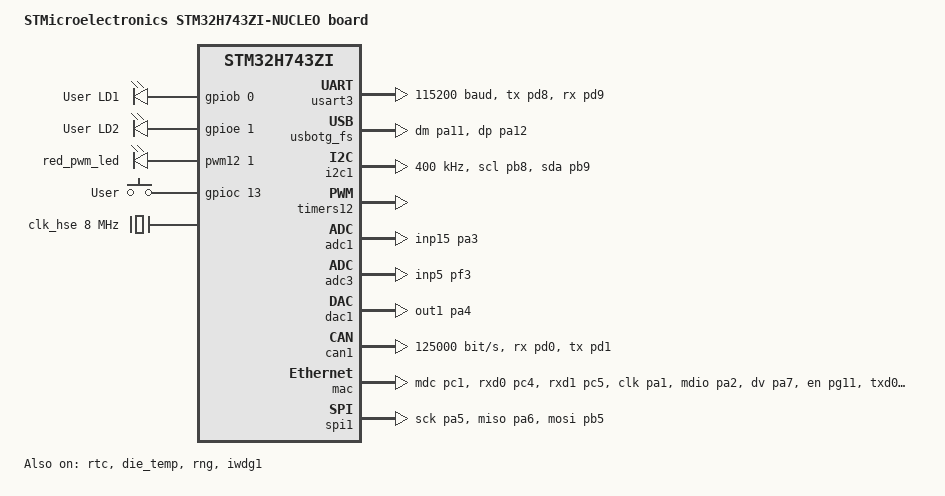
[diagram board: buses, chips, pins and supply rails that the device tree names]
/*
 * Copyright (c) 2020 Teslabs Engineering S.L.
 *
 * SPDX-License-Identifier: Apache-2.0
 */

/dts-v1/;
#include <st/h7/stm32h743Xi.dtsi>
#include <st/h7/stm32h743zitx-pinctrl.dtsi>
#include "arduino_r3_connector.dtsi"

/ {
	model = "STMicroelectronics STM32H743ZI-NUCLEO board";
	compatible = "st,stm32h743zi-nucleo";

	chosen {
		zephyr,console = &usart3;
		zephyr,shell-uart = &usart3;
		zephyr,sram = &sram0;
		zephyr,flash = &flash0;
		zephyr,dtcm = &dtcm;
		zephyr,code-partition = &slot0_partition;
		zephyr,canbus = &can1;
	};

	leds {
		compatible = "gpio-leds";
		green_led: led_0 {
			gpios = <&gpiob 0 GPIO_ACTIVE_HIGH>;
			label = "User LD1";
		};
		yellow_led: led_1 {
			gpios = <&gpioe 1 GPIO_ACTIVE_HIGH>;
			label = "User LD2";
		};
	};

	pwmleds {
		compatible = "pwm-leds";

		red_pwm_led: red_pwm_led {
			pwms = <&pwm12 1 PWM_MSEC(20) PWM_POLARITY_NORMAL>;
		};
	};

	gpio_keys {
		compatible = "gpio-keys";
		user_button: button_0 {
			label = "User";
			gpios = <&gpioc 13 GPIO_ACTIVE_HIGH>;
		};
	};

	aliases {
		led0 = &green_led;
		led1 = &yellow_led;
		pwm-led0 = &red_pwm_led;
		sw0 = &user_button;
		watchdog0 = &iwdg;
	};
};

&clk_hse {
	hse-bypass;
	clock-frequency = <DT_FREQ_M(8)>; /* STLink 8MHz clock */
	status = "okay";
};

&pll {
	div-m = <1>;
	mul-n = <24>;
	div-p = <2>;
	div-q = <4>;
	div-r = <2>;
	clocks = <&clk_hse>;
	status = "okay";
};

&rcc {
	clocks = <&pll>;
	clock-frequency = <DT_FREQ_M(96)>;
	d1cpre = <1>;
	hpre = <1>;
	d1ppre = <1>;
	d2ppre1 = <1>;
	d2ppre2 = <1>;
	d3ppre = <1>;
};

&usart3 {
	pinctrl-0 = <&usart3_tx_pd8 &usart3_rx_pd9>;
	pinctrl-names = "default";
	current-speed = <115200>;
	status = "okay";
};

zephyr_udc0: &usbotg_fs {
	pinctrl-0 = <&usb_otg_fs_dm_pa11 &usb_otg_fs_dp_pa12>;
	pinctrl-names = "default";
	status = "okay";
};

&rtc {
	status = "okay";
};

&i2c1 {
	pinctrl-0 = <&i2c1_scl_pb8 &i2c1_sda_pb9>;
	pinctrl-names = "default";
	status = "okay";
	clock-frequency = <I2C_BITRATE_FAST>;
};

&timers12 {
	st,prescaler = <10000>;
	status = "okay";

	pwm12: pwm {
		status = "okay";
		pinctrl-0 = <&tim12_ch1_pb14>;
		pinctrl-names = "default";
	};
};

&adc1 {
	pinctrl-0 = <&adc1_inp15_pa3>;
	pinctrl-names = "default";
	status = "okay";
};

&die_temp {
	status = "okay";
};

&adc3 {
	pinctrl-0 = <&adc3_inp5_pf3>;
	pinctrl-names = "default";
	status = "okay";
};

&dac1 {
	status = "okay";
	pinctrl-0 = <&dac1_out1_pa4>;
	pinctrl-names = "default";
};

&rng {
	status = "okay";
};

&can1 {
	pinctrl-0 = <&fdcan1_rx_pd0 &fdcan1_tx_pd1>;
	pinctrl-names = "default";
	bus-speed = <125000>;
	bus-speed-data = <1000000>;
	status = "okay";
};

/*
 * WARNING:
 * Possible pin conflicts:
 *          The pins PA2 and PB13 may conflict on selection of ETH_STM32_HAL,
 *          since they are used in ST Zio or ST morpho connectors.
 *          To avoid conflicting states the jumpers JP6 and JP7
 *          must be in ON state.
 */
&mac {
	status = "okay";
	pinctrl-0 = <&eth_mdc_pc1
		     &eth_rxd0_pc4
		     &eth_rxd1_pc5
		     &eth_ref_clk_pa1
		     &eth_mdio_pa2
		     &eth_crs_dv_pa7
		     &eth_tx_en_pg11
		     &eth_txd0_pg13
		     &eth_txd1_pb13>;
	pinctrl-names = "default";
};

&spi1 {
	status = "okay";
	pinctrl-0 = <&spi1_sck_pa5 &spi1_miso_pa6 &spi1_mosi_pb5>;
	pinctrl-names = "default";
	cs-gpios = <&gpiod 14 (GPIO_ACTIVE_LOW | GPIO_PULL_UP)>;
};

&backup_sram {
	status = "okay";
};

&flash0 {
	partitions {
		compatible = "fixed-partitions";
		#address-cells = <1>;
		#size-cells = <1>;

		/* 128KB for bootloader */
		boot_partition: partition@0 {
			label = "mcuboot";
			reg = <0x00000000 DT_SIZE_K(128)>;
			read-only;
		};

		/* storage: 128KB for settings */
		storage_partition: partition@20000 {
			label = "storage";
			reg = <0x00020000 DT_SIZE_K(128)>;
		};

		/* application image slot: 256KB */
		slot0_partition: partition@40000 {
			label = "image-0";
			reg = <0x00040000 DT_SIZE_K(256)>;
		};

		/* backup slot: 256KB */
		slot1_partition: partition@80000 {
			label = "image-1";
			reg = <0x00080000 DT_SIZE_K(256)>;
		};

		/* swap slot: 128KB */
		scratch_partition: partition@c0000 {
			label = "image-scratch";
			reg = <0x000c0000 DT_SIZE_K(128)>;
		};

	};
};

&iwdg1 {
	status = "okay";
};
